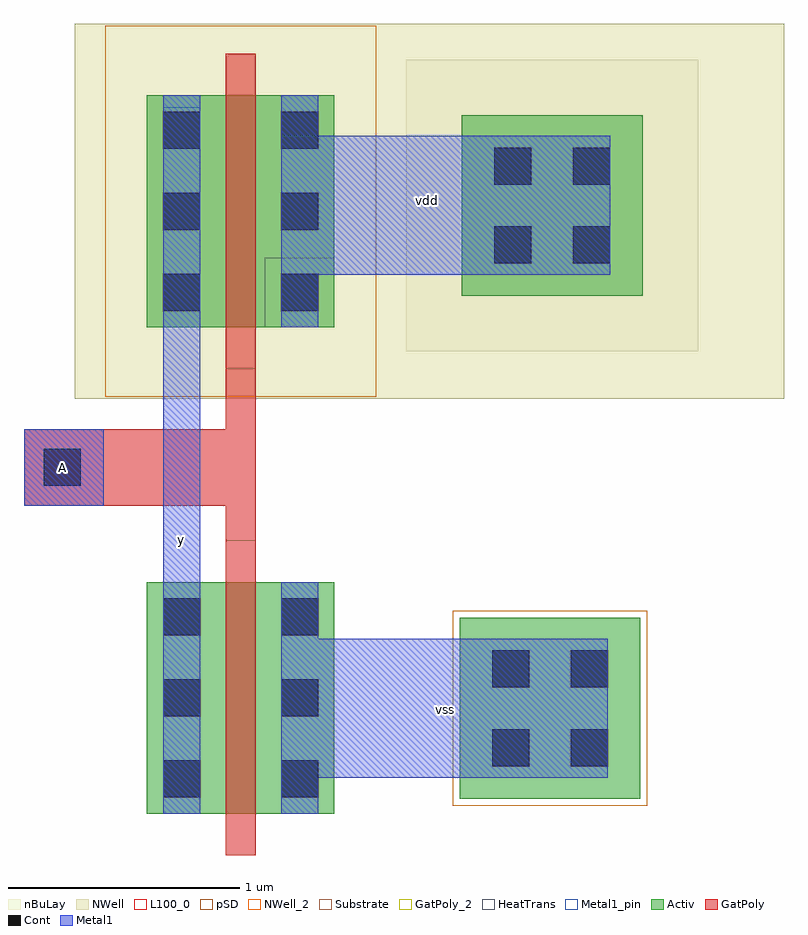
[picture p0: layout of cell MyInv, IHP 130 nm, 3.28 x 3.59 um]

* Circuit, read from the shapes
.subckt MyInv A vdd vss y
XM1 vss A y vss sg13_lv_nmos w=1u l=0.13u
XM2 vdd A y vdd sg13_lv_pmos w=1u l=0.13u
.ends

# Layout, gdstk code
import gdstk
lib = gdstk.Library(unit=1e-6, precision=1e-09)
def R(c, l, rs):  # rectangles x0, y0, x1, y1
    for r in rs: c.add(gdstk.rectangle(r[:2], r[2:], *l))
def A(c, l, x, y, w, h, nx, ny, dx, dy):  # array of equal rectangles
    R(c, l, [(x+i*dx, y+j*dy, x+i*dx+w, y+j*dy+h) for i in range(nx) for j in range(ny)])
Activ = (1, 0)
GatPoly = (5, 0)
GatPoly_2 = (5, 2)
Cont = (6, 0)
Metal1 = (8, 0)
Metal1_pin = (8, 2)
pSD = (14, 0)
NWell = (31, 0)
NWell_2 = (31, 2)
nBuLay = (32, 0)
Substrate = (40, 0)
HeatTrans = (51, 0)
L100_0 = (100, 0)

pmos = lib.new_cell('pmos')
R(pmos, Activ, [(0,0,0.3,0.3), (0,0,0.81,1), (0.51,0,0.81,0.3)])
R(pmos, GatPoly, [(0.34,-0.18,0.47,1.18), (0.34,-0.18,0.47,1.18)])
A(pmos, Cont, 0.07, 0.07, 0.16, 0.16, 1, 3, 0, 0.35)
A(pmos, Cont, 0.58, 0.07, 0.16, 0.16, 1, 3, 0, 0.35)
R(pmos, Metal1, [(0.07,0,0.23,1), (0.07,0,0.23,1), (0.58,0,0.74,1), (0.58,0,0.74,1)])
R(pmos, pSD, [(-0.18,-0.3,0.99,1.3)])
R(pmos, NWell, [(-0.31,-0.31,1.12,1.31)])
R(pmos, Substrate, [(0.51,0,0.81,0.3)])
R(pmos, HeatTrans, [(0.34,-0.18,0.47,1.18)])
pmos.add(gdstk.Label('pmos', (0.405,0.5), layer=63, texttype=0))
pmos.add(gdstk.Label('pmos', (0.405,0.5), layer=51, texttype=0))

ntap1 = lib.new_cell('ntap1')
R(ntap1, Activ, [(0,0,0.78,0.78)])
R(ntap1, Cont, [(0.14,0.14,0.3,0.3), (0.48,0.14,0.64,0.3), (0.14,0.48,0.3,0.64), (0.48,0.48,0.64,0.64)])
R(ntap1, Metal1, [(0.14,0.09,0.64,0.69)])
R(ntap1, Metal1_pin, [(0.14,0.09,0.64,0.69), (0.14,0.14,0.64,0.64)])
R(ntap1, NWell, [(-0.24,-0.24,1.02,1.02), (0,0,0.78,0.78)])
R(ntap1, NWell_2, [(0,0,0.78,0.78)])
R(ntap1, nBuLay, [(-0.24,-0.24,1.02,1.02)])
ntap1.add(gdstk.Label('well', (0.39,0.01), layer=63, texttype=0))
ntap1.add(gdstk.Label('well', (0.39,0.01), layer=31, texttype=0))

ptap1 = lib.new_cell('ptap1')
R(ptap1, Activ, [(0,0,0.78,0.78)])
R(ptap1, Cont, [(0.14,0.14,0.3,0.3), (0.48,0.14,0.64,0.3), (0.14,0.48,0.3,0.64), (0.48,0.48,0.64,0.64)])
R(ptap1, Metal1, [(0.14,0.09,0.64,0.69), (0.14,0.14,0.64,0.64)])
R(ptap1, Metal1_pin, [(0.14,0.14,0.64,0.64)])
R(ptap1, pSD, [(-0.03,-0.03,0.81,0.81)])
R(ptap1, Substrate, [(0,0,0.78,0.78)])
ptap1.add(gdstk.Label('sub!', (0.39,0.01), layer=63, texttype=0))
ptap1.add(gdstk.Label('sub!', (0.39,0.01), layer=40, texttype=0))

nmos_1 = lib.new_cell('nmos$1')
R(nmos_1, Activ, [(0,0,0.3,0.3), (0,0,0.81,1), (0.51,0,0.81,0.3)])
R(nmos_1, GatPoly, [(0.34,-0.18,0.47,1.18)])
R(nmos_1, GatPoly_2, [(0.34,-0.18,0.47,1.18)])
A(nmos_1, Cont, 0.07, 0.07, 0.16, 0.16, 1, 3, 0, 0.35)
A(nmos_1, Cont, 0.58, 0.07, 0.16, 0.16, 1, 3, 0, 0.35)
R(nmos_1, Metal1, [(0.07,0,0.23,1), (0.58,0,0.74,1)])
R(nmos_1, Metal1_pin, [(0.07,0,0.23,1), (0.58,0,0.74,1)])
R(nmos_1, HeatTrans, [(0.34,-0.18,0.47,1.18)])
nmos_1.add(gdstk.Label('nmos', (0.405,0.5), layer=63, texttype=0))
nmos_1.add(gdstk.Label('nmos', (0.405,0.5), layer=51, texttype=0))

myinv = lib.new_cell('MyInv')
R(myinv, Cont, [(-0.565,-0.24,-0.405,-0.08)])
R(myinv, Metal1, [(0.62,-1.5,1.37,-0.9), (-0.05,-1,0.11,0.445), (-0.65,-0.325,-0.305,0.005), (0.62,0.67,1.38,1.27)])
R(myinv, Metal1_pin, [(0.46,-1.5,1.87,-0.9), (-0.05,-0.965,0.11,1.395), (-0.65,-0.325,-0.305,0.005), (0.46,0.67,1.88,1.27)])
R(myinv, NWell, [(1,0.135,2.63,1.755)])
R(myinv, L100_0, [(-0.05,-1.587,0.112,-1.425), (-0.05,-1.587,0.112,-1.425), (0.46,-1.587,0.622,-1.425), (0.46,-1.587,0.622,-1.425), (1.37,-1.452,1.532,-1.29), (1.37,-1.452,1.532,-1.29), (1.71,-1.452,1.872,-1.29), (1.71,-1.452,1.872,-1.29), (-0.05,-1.237,0.112,-1.075), (-0.05,-1.237,0.112,-1.075), (0.46,-1.237,0.622,-1.075), (0.46,-1.237,0.622,-1.075), (1.37,-1.112,1.532,-0.95), (1.37,-1.112,1.532,-0.95), (1.71,-1.112,1.872,-0.95), (1.71,-1.112,1.872,-0.95), (-0.05,-0.887,0.112,-0.725), (-0.05,-0.887,0.112,-0.725), (0.46,-0.887,0.622,-0.725), (0.46,-0.887,0.622,-0.725), (-0.051,0.514,0.111,0.676), (-0.051,0.514,0.111,0.676), (0.459,0.514,0.621,0.676), (0.459,0.514,0.621,0.676), (1.379,0.719,1.541,0.881), (1.379,0.719,1.541,0.881), (1.719,0.719,1.881,0.881), (1.719,0.719,1.881,0.881), (-0.051,0.864,0.111,1.026), (-0.051,0.864,0.111,1.026), (0.459,0.864,0.621,1.026), (0.459,0.864,0.621,1.026), (1.379,1.059,1.541,1.221), (1.379,1.059,1.541,1.221), (1.719,1.059,1.881,1.221), (1.719,1.059,1.881,1.221), (-0.051,1.214,0.111,1.376), (-0.051,1.214,0.111,1.376), (0.459,1.214,0.621,1.376), (0.459,1.214,0.621,1.376)])
myinv.add(gdstk.FlexPath([(0.22,-0.16),(-0.65,-0.16)], 0.33, ends="flush", simple_path=True, layer=5, datatype=0))  # GatPoly
myinv.add(gdstk.FlexPath([(0.285,-0.5),(0.285,0.265)], 0.13, ends="flush", simple_path=True, layer=5, datatype=0))  # GatPoly
myinv.add(gdstk.Reference(pmos, (-0.12,0.445)))
myinv.add(gdstk.Reference(ntap1, (1.24,0.58)))
myinv.add(gdstk.Reference(ptap1, (1.23,-1.59)))
myinv.add(gdstk.Reference(nmos_1, (-0.12,-1.655)))
myinv.add(gdstk.Label('vdd', (1.09,0.99), layer=8, texttype=2))
myinv.add(gdstk.Label('vss', (1.17,-1.205), layer=8, texttype=2))
myinv.add(gdstk.Label('A', (-0.485,-0.16), layer=8, texttype=2))
myinv.add(gdstk.Label('y', (0.03,-0.47), layer=8, texttype=2))

lib.write_gds('MyInv.gds')
